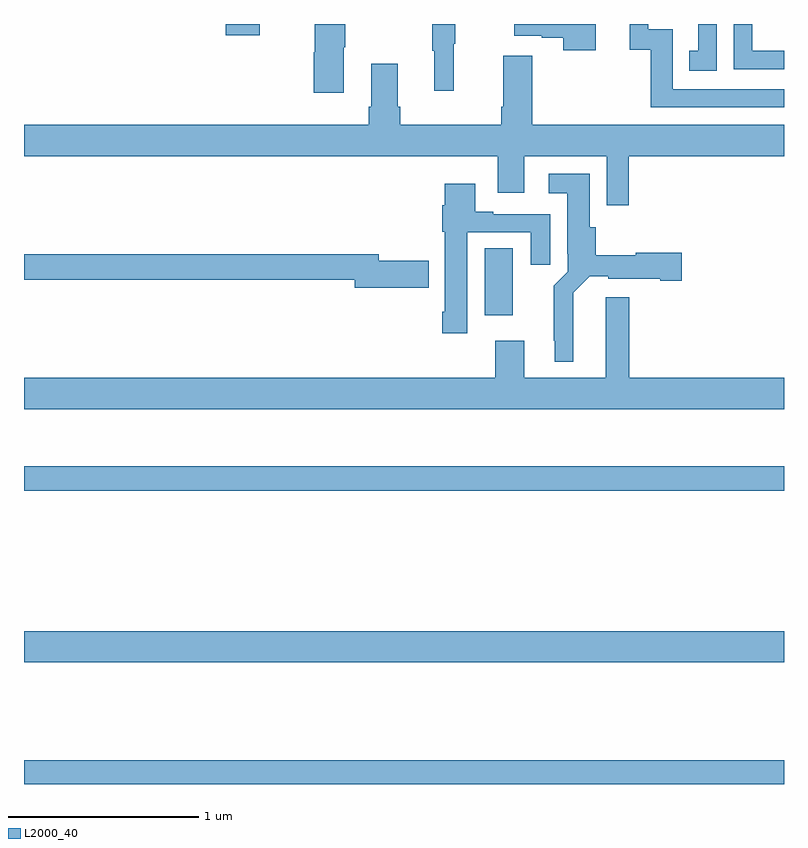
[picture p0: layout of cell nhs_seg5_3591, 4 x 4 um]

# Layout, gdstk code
import gdstk
lib = gdstk.Library(unit=1e-6, precision=1e-09)
def R(c, l, rs):  # rectangles x0, y0, x1, y1
    for r in rs: c.add(gdstk.rectangle(r[:2], r[2:], *l))
def P(c, l, *ps):  # polygons
    for p in ps: c.add(gdstk.Polygon(p, *l))
L2000_40 = (2000, 40)

nhs_seg5_3591 = lib.new_cell('nhs_seg5_3591')
R(nhs_seg5_3591, L2000_40, [(323,842.799,327,842.924), (323,843.44,327,843.604), (323,844.342,327,844.471), (325.424,845.265,325.573,845.618), (324.062,846.741,324.24,846.799)])
P(nhs_seg5_3591, L2000_40, [(325.262,846.696),(325.27,846.696),(325.27,846.799),(325.149,846.799),(325.149,846.659),(325.16,846.659),(325.16,846.447),(325.262,846.447)],
  [(324.682,846.676),(324.69,846.676),(324.69,846.799),(324.529,846.799),(324.529,846.65),(324.524,846.65),(324.524,846.438),(324.682,846.438)],
  [(326.646,846.799),(326.549,846.799),(326.549,846.657),(326.5,846.657),(326.5,846.552),(326.646,846.552)],
  [(327,846.456),(326.415,846.456),(326.415,846.771),(326.286,846.771),(326.286,846.799),(326.189,846.799),(326.189,846.663),(326.299,846.663),(326.299,846.36),(327,846.36)],
  [(326.008,846.799),(325.581,846.799),(325.581,846.737),(325.724,846.737),(325.724,846.727),(325.838,846.727),(325.838,846.66),(326.008,846.66)],
  [(327,846.658),(326.832,846.658),(326.832,846.799),(326.736,846.799),(326.736,846.561),(327,846.561)],
  [(325.493,845.91),(325.633,845.91),(325.633,846.104),(326.067,846.104),(326.067,845.844),(326.183,845.844),(326.183,846.104),(327,846.104),(327,846.268),(325.676,846.268),(325.676,846.631),(325.523,846.631),(325.523,846.364),(325.511,846.364),(325.511,846.268),(324.98,846.268),(324.98,846.364),(324.967,846.364),(324.967,846.589),(324.827,846.589),(324.827,846.364),(324.815,846.364),(324.815,846.268),(323,846.268),(323,846.104),(325.493,846.104)],
  [(325.891,845.384),(325.977,845.471),(326.076,845.471),(326.076,845.459),(326.348,845.459),(326.348,845.447),(326.461,845.447),(326.461,845.594),(326.22,845.594),(326.22,845.581),(326.009,845.581),(326.009,845.73),(325.978,845.73),(325.978,846.01),(325.761,846.01),(325.761,845.909),(325.859,845.909),(325.859,845.59),(325.863,845.59),(325.863,845.496),(325.789,845.422),(325.789,845.131),(325.793,845.131),(325.793,845.021),(325.891,845.021)],
  [(325.333,845.703),(325.667,845.703),(325.667,845.532),(325.771,845.532),(325.771,845.799),(325.471,845.799),(325.471,845.812),(325.375,845.812),(325.375,845.959),(325.214,845.959),(325.214,845.846),(325.202,845.846),(325.202,845.706),(325.214,845.706),(325.214,845.284),(325.202,845.284),(325.202,845.172),(325.333,845.172)],
  [(325.129,845.552),(324.868,845.552),(324.868,845.588),(323,845.588),(323,845.452),(324.74,845.452),(324.74,845.41),(325.129,845.41)],
  [(327,844.936),(326.186,844.936),(326.186,845.362),(326.063,845.362),(326.063,844.936),(325.633,844.936),(325.633,845.131),(325.481,845.131),(325.481,844.936),(323,844.936),(323,844.772),(327,844.772)])

lib.write_gds('nhs_seg5_3591.gds')
